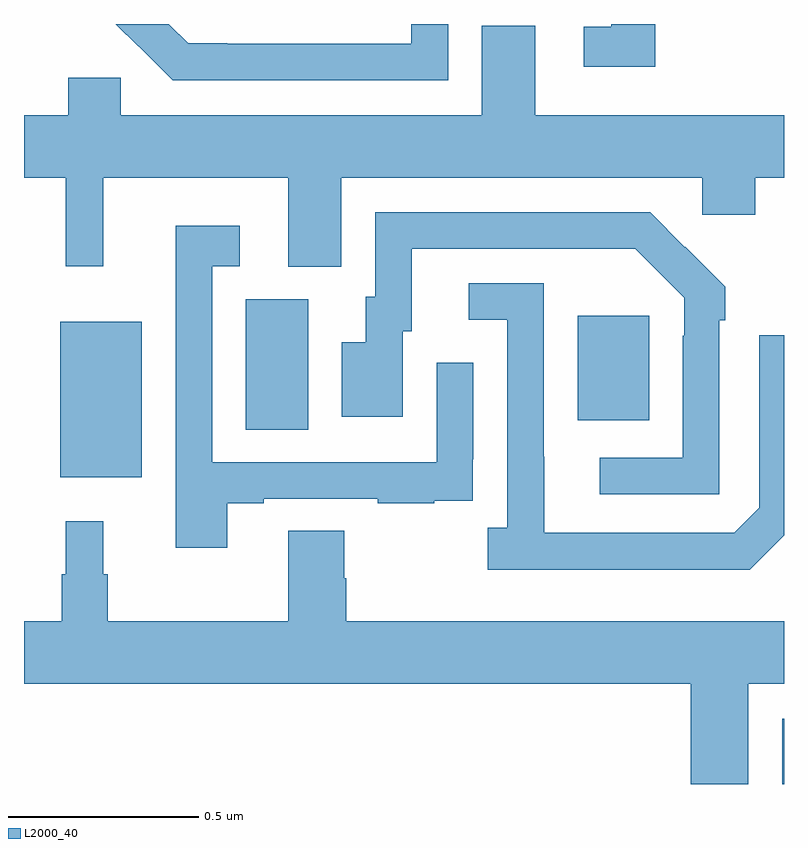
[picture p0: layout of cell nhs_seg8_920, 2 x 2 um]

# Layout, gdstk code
import gdstk
lib = gdstk.Library(unit=1e-6, precision=1e-09)
def R(c, l, rs):  # rectangles x0, y0, x1, y1
    for r in rs: c.add(gdstk.rectangle(r[:2], r[2:], *l))
def P(c, l, *ps):  # polygons
    for p in ps: c.add(gdstk.Polygon(p, *l))
L2000_40 = (2000, 40)

nhs_seg8_920 = lib.new_cell('nhs_seg8_920')
R(nhs_seg8_920, L2000_40, [(124.995,1118.9,125,1119.072), (123.095,1119.707,123.31,1120.117), (123.584,1119.832,123.748,1120.176), (124.457,1119.857,124.645,1120.132)])
P(nhs_seg8_920, L2000_40, [(124.116,1120.9),(124.019,1120.9),(124.019,1120.848),(123.535,1120.848),(123.535,1120.849),(123.432,1120.849),(123.381,1120.9),(123.242,1120.9),(123.3,1120.842),(123.301,1120.843),(123.392,1120.752),(124.116,1120.752)],
  [(124.661,1120.9),(124.545,1120.9),(124.545,1120.893),(124.473,1120.893),(124.473,1120.788),(124.661,1120.788)],
  [(123.835,1120.496),(124.785,1120.496),(124.785,1120.398),(124.924,1120.398),(124.924,1120.496),(125,1120.496),(125,1120.66),(124.345,1120.66),(124.345,1120.896),(124.205,1120.896),(124.205,1120.66),(123.255,1120.66),(123.255,1120.758),(123.116,1120.758),(123.116,1120.66),(123,1120.66),(123,1120.496),(123.11,1120.496),(123.11,1120.263),(123.209,1120.263),(123.209,1120.496),(123.695,1120.496),(123.695,1120.261),(123.835,1120.261)],
  [(124.83,1120.121),(124.845,1120.121),(124.845,1120.209),(124.74,1120.314),(124.739,1120.313),(124.648,1120.404),(123.924,1120.404),(123.924,1120.182),(123.899,1120.182),(123.899,1120.063),(123.836,1120.063),(123.836,1119.867),(123.997,1119.867),(123.997,1120.092),(124.021,1120.092),(124.021,1120.308),(124.609,1120.308),(124.737,1120.179),(124.737,1120.079),(124.734,1120.079),(124.734,1119.759),(124.515,1119.759),(124.515,1119.663),(124.83,1119.663)],
  [(123.535,1119.639),(123.631,1119.639),(123.631,1119.651),(123.931,1119.651),(123.931,1119.639),(124.079,1119.639),(124.079,1119.645),(124.181,1119.645),(124.181,1119.754),(124.182,1119.754),(124.182,1120.009),(124.086,1120.009),(124.086,1119.747),(123.495,1119.747),(123.495,1120.263),(123.568,1120.263),(123.568,1120.369),(123.399,1120.369),(123.399,1119.522),(123.535,1119.522)],
  [(125,1119.554),(125,1120.081),(124.935,1120.081),(124.935,1119.627),(124.869,1119.561),(124.369,1119.561),(124.369,1119.761),(124.368,1119.761),(124.368,1120.218),(124.17,1120.218),(124.17,1120.122),(124.272,1120.122),(124.272,1119.574),(124.221,1119.574),(124.221,1119.464),(124.91,1119.464)],
  [(124.906,1119.164),(125,1119.164),(125,1119.328),(123.848,1119.328),(123.848,1119.441),(123.843,1119.441),(123.843,1119.566),(123.695,1119.566),(123.695,1119.328),(123.22,1119.328),(123.22,1119.452),(123.209,1119.452),(123.209,1119.592),(123.11,1119.592),(123.11,1119.452),(123.099,1119.452),(123.099,1119.328),(123,1119.328),(123,1119.164),(124.754,1119.164),(124.754,1118.9),(124.906,1118.9)])

lib.write_gds('nhs_seg8_920.gds')
